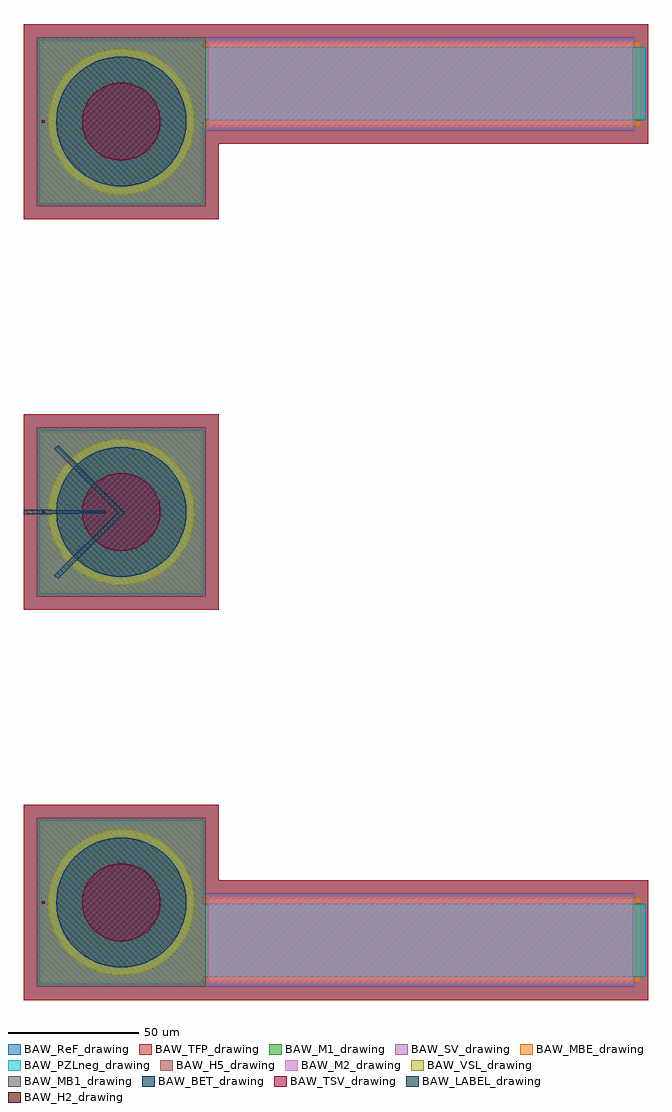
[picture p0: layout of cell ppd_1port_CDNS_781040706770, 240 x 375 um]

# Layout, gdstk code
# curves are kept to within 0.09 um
import gdstk
lib = gdstk.Library(unit=1e-6, precision=1e-09)
def R(c, l, rs):  # rectangles x0, y0, x1, y1
    for r in rs: c.add(gdstk.rectangle(r[:2], r[2:], *l))
def A(c, l, x, y, w, h, nx, ny, dx, dy):  # array of equal rectangles
    R(c, l, [(x+i*dx, y+j*dy, x+i*dx+w, y+j*dy+h) for i in range(nx) for j in range(ny)])
def P(c, l, *ps):  # polygons
    for p in ps: c.add(gdstk.Polygon(p, *l))
BAW_MBE_drawing = (2, 0)
BAW_SV_drawing = (7, 0)
BAW_M1_drawing = (8, 0)
BAW_MB1_drawing = (10, 0)
BAW_TSV_drawing = (11, 0)
BAW_BET_drawing = (21, 0)
BAW_TFP_drawing = (26, 0)
BAW_ReF_drawing = (33, 0)
BAW_H2_drawing = (40, 0)
BAW_M2_drawing = (81, 0)
BAW_LABEL_drawing = (100, 0)
BAW_H5_drawing = (202, 0)
BAW_VSL_drawing = (246, 0)
BAW_PZLneg_drawing = (264, 0)

ppd_1port_cdns_781040706 = lib.new_cell('ppd_1port_CDNS_781040706770')
A(ppd_1port_cdns_781040706, BAW_MBE_drawing, 7, 7, 61, 61, 1, 3, 0, 150)
R(ppd_1port_cdns_781040706, BAW_MBE_drawing, [(68,7,237,39), (68,336,237,368)])
A(ppd_1port_cdns_781040706, BAW_SV_drawing, 5, 5, 65, 65, 1, 3, 0, 150)
R(ppd_1port_cdns_781040706, BAW_SV_drawing, [(70,5,235,41), (70,334,235,370)])
A(ppd_1port_cdns_781040706, BAW_M1_drawing, 5, 5, 65, 65, 1, 3, 0, 150)
R(ppd_1port_cdns_781040706, BAW_M1_drawing, [(70,5,235,41), (70,334,235,370)])
P(ppd_1port_cdns_781040706, BAW_MB1_drawing, [(62.5,337.5),(62.38,339.95),(62.02,342.377),(61.424,344.757),(60.597,347.067),(59.548,349.285),(58.287,351.389),(56.825,353.36),(55.178,355.178),(53.36,356.825),(51.389,358.287),(49.285,359.548),(47.067,360.597),(44.757,361.424),(42.377,362.02),(39.95,362.38),(37.5,362.5),(35.05,362.38),(32.623,362.02),(30.243,361.424),(27.933,360.597),(25.715,359.548),(23.611,358.287),(21.64,356.825),(19.822,355.178),(18.175,353.36),(16.713,351.389),(15.452,349.285),(14.403,347.067),(13.576,344.757),(12.98,342.377),(12.62,339.95),(12.5,337.5),(12.62,335.05),(12.98,332.623),(13.576,330.243),(14.403,327.933),(15.452,325.715),(16.713,323.611),(18.175,321.64),(19.822,319.822),(21.64,318.175),(23.611,316.713),(25.715,315.452),(27.933,314.403),(30.243,313.576),(32.623,312.98),(35.05,312.62),(37.5,312.5),(39.95,312.62),(42.377,312.98),(44.757,313.576),(47.067,314.403),(49.285,315.452),(51.389,316.713),(53.36,318.175),(55.178,319.822),(56.825,321.64),(58.287,323.611),(59.548,325.715),(60.597,327.933),(61.424,330.243),(62.02,332.623),(62.38,335.05)],
  [(62.5,187.5),(62.38,189.95),(62.02,192.377),(61.424,194.757),(60.597,197.067),(59.548,199.285),(58.287,201.389),(56.825,203.36),(55.178,205.178),(53.36,206.825),(51.389,208.287),(49.285,209.548),(47.067,210.597),(44.757,211.424),(42.377,212.02),(39.95,212.38),(37.5,212.5),(35.05,212.38),(32.623,212.02),(30.243,211.424),(27.933,210.597),(25.715,209.548),(23.611,208.287),(21.64,206.825),(19.822,205.178),(18.175,203.36),(16.713,201.389),(15.452,199.285),(14.403,197.067),(13.576,194.757),(12.98,192.377),(12.62,189.95),(12.5,187.5),(12.62,185.05),(12.98,182.623),(13.576,180.243),(14.403,177.933),(15.452,175.715),(16.713,173.611),(18.175,171.64),(19.822,169.822),(21.64,168.175),(23.611,166.713),(25.715,165.452),(27.933,164.403),(30.243,163.576),(32.623,162.98),(35.05,162.62),(37.5,162.5),(39.95,162.62),(42.377,162.98),(44.757,163.576),(47.067,164.403),(49.285,165.452),(51.389,166.713),(53.36,168.175),(55.178,169.822),(56.825,171.64),(58.287,173.611),(59.548,175.715),(60.597,177.933),(61.424,180.243),(62.02,182.623),(62.38,185.05)],
  [(62.5,37.5),(62.38,39.95),(62.02,42.377),(61.424,44.757),(60.597,47.067),(59.548,49.285),(58.287,51.389),(56.825,53.36),(55.178,55.178),(53.36,56.825),(51.389,58.287),(49.285,59.548),(47.067,60.597),(44.757,61.424),(42.377,62.02),(39.95,62.38),(37.5,62.5),(35.05,62.38),(32.623,62.02),(30.243,61.424),(27.933,60.597),(25.715,59.548),(23.611,58.287),(21.64,56.825),(19.822,55.178),(18.175,53.36),(16.713,51.389),(15.452,49.285),(14.403,47.067),(13.576,44.757),(12.98,42.377),(12.62,39.95),(12.5,37.5),(12.62,35.05),(12.98,32.623),(13.576,30.243),(14.403,27.933),(15.452,25.715),(16.713,23.611),(18.175,21.64),(19.822,19.822),(21.64,18.175),(23.611,16.713),(25.715,15.452),(27.933,14.403),(30.243,13.576),(32.623,12.98),(35.05,12.62),(37.5,12.5),(39.95,12.62),(42.377,12.98),(44.757,13.576),(47.067,14.403),(49.285,15.452),(51.389,16.713),(53.36,18.175),(55.178,19.822),(56.825,21.64),(58.287,23.611),(59.548,25.715),(60.597,27.933),(61.424,30.243),(62.02,32.623),(62.38,35.05)])
P(ppd_1port_cdns_781040706, BAW_TSV_drawing, [(52.5,337.5),(52.212,340.426),(51.358,343.24),(49.972,345.834),(48.107,348.107),(45.834,349.972),(43.24,351.358),(40.426,352.212),(37.5,352.5),(34.574,352.212),(31.76,351.358),(29.166,349.972),(26.893,348.107),(25.028,345.834),(23.642,343.24),(22.788,340.426),(22.5,337.5),(22.788,334.574),(23.642,331.76),(25.028,329.166),(26.893,326.893),(29.166,325.028),(31.76,323.642),(34.574,322.788),(37.5,322.5),(40.426,322.788),(43.24,323.642),(45.834,325.028),(48.107,326.893),(49.972,329.166),(51.358,331.76),(52.212,334.574)],
  [(52.5,187.5),(52.212,190.426),(51.358,193.24),(49.972,195.834),(48.107,198.107),(45.834,199.972),(43.24,201.358),(40.426,202.212),(37.5,202.5),(34.574,202.212),(31.76,201.358),(29.166,199.972),(26.893,198.107),(25.028,195.834),(23.642,193.24),(22.788,190.426),(22.5,187.5),(22.788,184.574),(23.642,181.76),(25.028,179.166),(26.893,176.893),(29.166,175.028),(31.76,173.642),(34.574,172.788),(37.5,172.5),(40.426,172.788),(43.24,173.642),(45.834,175.028),(48.107,176.893),(49.972,179.166),(51.358,181.76),(52.212,184.574)],
  [(52.5,37.5),(52.212,40.426),(51.358,43.24),(49.972,45.834),(48.107,48.107),(45.834,49.972),(43.24,51.358),(40.426,52.212),(37.5,52.5),(34.574,52.212),(31.76,51.358),(29.166,49.972),(26.893,48.107),(25.028,45.834),(23.642,43.24),(22.788,40.426),(22.5,37.5),(22.788,34.574),(23.642,31.76),(25.028,29.166),(26.893,26.893),(29.166,25.028),(31.76,23.642),(34.574,22.788),(37.5,22.5),(40.426,22.788),(43.24,23.642),(45.834,25.028),(48.107,26.893),(49.972,29.166),(51.358,31.76),(52.212,34.574)])
P(ppd_1port_cdns_781040706, BAW_BET_drawing, [(62.5,337.5),(62.38,339.95),(62.02,342.377),(61.424,344.757),(60.597,347.067),(59.548,349.285),(58.287,351.389),(56.825,353.36),(55.178,355.178),(53.36,356.825),(51.389,358.287),(49.285,359.548),(47.067,360.597),(44.757,361.424),(42.377,362.02),(39.95,362.38),(37.5,362.5),(35.05,362.38),(32.623,362.02),(30.243,361.424),(27.933,360.597),(25.715,359.548),(23.611,358.287),(21.64,356.825),(19.822,355.178),(18.175,353.36),(16.713,351.389),(15.452,349.285),(14.403,347.067),(13.576,344.757),(12.98,342.377),(12.62,339.95),(12.5,337.5),(12.62,335.05),(12.98,332.623),(13.576,330.243),(14.403,327.933),(15.452,325.715),(16.713,323.611),(18.175,321.64),(19.822,319.822),(21.64,318.175),(23.611,316.713),(25.715,315.452),(27.933,314.403),(30.243,313.576),(32.623,312.98),(35.05,312.62),(37.5,312.5),(39.95,312.62),(42.377,312.98),(44.757,313.576),(47.067,314.403),(49.285,315.452),(51.389,316.713),(53.36,318.175),(55.178,319.822),(56.825,321.64),(58.287,323.611),(59.548,325.715),(60.597,327.933),(61.424,330.243),(62.02,332.623),(62.38,335.05)],
  [(62.5,187.5),(62.38,189.95),(62.02,192.377),(61.424,194.757),(60.597,197.067),(59.548,199.285),(58.287,201.389),(56.825,203.36),(55.178,205.178),(53.36,206.825),(51.389,208.287),(49.285,209.548),(47.067,210.597),(44.757,211.424),(42.377,212.02),(39.95,212.38),(37.5,212.5),(35.05,212.38),(32.623,212.02),(30.243,211.424),(27.933,210.597),(25.715,209.548),(23.611,208.287),(21.64,206.825),(19.822,205.178),(18.175,203.36),(16.713,201.389),(15.452,199.285),(14.403,197.067),(13.576,194.757),(12.98,192.377),(12.62,189.95),(12.5,187.5),(12.62,185.05),(12.98,182.623),(13.576,180.243),(14.403,177.933),(15.452,175.715),(16.713,173.611),(18.175,171.64),(19.822,169.822),(21.64,168.175),(23.611,166.713),(25.715,165.452),(27.933,164.403),(30.243,163.576),(32.623,162.98),(35.05,162.62),(37.5,162.5),(39.95,162.62),(42.377,162.98),(44.757,163.576),(47.067,164.403),(49.285,165.452),(51.389,166.713),(53.36,168.175),(55.178,169.822),(56.825,171.64),(58.287,173.611),(59.548,175.715),(60.597,177.933),(61.424,180.243),(62.02,182.623),(62.38,185.05)],
  [(62.5,37.5),(62.38,39.95),(62.02,42.377),(61.424,44.757),(60.597,47.067),(59.548,49.285),(58.287,51.389),(56.825,53.36),(55.178,55.178),(53.36,56.825),(51.389,58.287),(49.285,59.548),(47.067,60.597),(44.757,61.424),(42.377,62.02),(39.95,62.38),(37.5,62.5),(35.05,62.38),(32.623,62.02),(30.243,61.424),(27.933,60.597),(25.715,59.548),(23.611,58.287),(21.64,56.825),(19.822,55.178),(18.175,53.36),(16.713,51.389),(15.452,49.285),(14.403,47.067),(13.576,44.757),(12.98,42.377),(12.62,39.95),(12.5,37.5),(12.62,35.05),(12.98,32.623),(13.576,30.243),(14.403,27.933),(15.452,25.715),(16.713,23.611),(18.175,21.64),(19.822,19.822),(21.64,18.175),(23.611,16.713),(25.715,15.452),(27.933,14.403),(30.243,13.576),(32.623,12.98),(35.05,12.62),(37.5,12.5),(39.95,12.62),(42.377,12.98),(44.757,13.576),(47.067,14.403),(49.285,15.452),(51.389,16.713),(53.36,18.175),(55.178,19.822),(56.825,21.64),(58.287,23.611),(59.548,25.715),(60.597,27.933),(61.424,30.243),(62.02,32.623),(62.38,35.05)])
A(ppd_1port_cdns_781040706, BAW_TFP_drawing, 0, 0, 75, 75, 1, 3, 0, 150)
R(ppd_1port_cdns_781040706, BAW_TFP_drawing, [(65,0,240,46), (65,329,240,375)])
A(ppd_1port_cdns_781040706, BAW_ReF_drawing, 0, 0, 75, 75, 1, 3, 0, 150)
R(ppd_1port_cdns_781040706, BAW_ReF_drawing, [(65,0,240,46), (65,329,240,375)])
A(ppd_1port_cdns_781040706, BAW_H2_drawing, 7, 37, 1, 1, 1, 3, 0, 150)
R(ppd_1port_cdns_781040706, BAW_M2_drawing, [(71,6,234,40), (71,335,234,369)])
P(ppd_1port_cdns_781040706, BAW_LABEL_drawing, [(31.5,188),(0,188.5),(0,186.5),(31.5,187)])
A(ppd_1port_cdns_781040706, BAW_H5_drawing, 5, 5, 65, 65, 1, 3, 0, 150)
A(ppd_1port_cdns_781040706, BAW_H5_drawing, 7, 37, 1, 1, 1, 3, 0, 150)
P(ppd_1port_cdns_781040706, BAW_VSL_drawing, [(65.5,337.5),(65.365,340.244),(64.962,342.963),(64.294,345.628),(63.369,348.215),(62.194,350.699),(60.781,353.056),(59.144,355.263),(57.299,357.299),(55.263,359.144),(53.056,360.781),(50.699,362.194),(48.215,363.369),(45.628,364.294),(42.963,364.962),(40.244,365.365),(37.5,365.5),(34.756,365.365),(32.037,364.962),(29.372,364.294),(26.785,363.369),(24.301,362.194),(21.944,360.781),(19.737,359.144),(17.701,357.299),(15.856,355.263),(14.219,353.056),(12.806,350.699),(11.631,348.215),(10.706,345.628),(10.038,342.963),(9.635,340.244),(9.5,337.5),(9.635,334.756),(10.038,332.037),(10.706,329.372),(11.631,326.785),(12.806,324.301),(14.219,321.944),(15.856,319.737),(17.701,317.701),(19.737,315.856),(21.944,314.219),(24.301,312.806),(26.785,311.631),(29.372,310.706),(32.037,310.038),(34.756,309.635),(37.5,309.5),(40.244,309.635),(42.963,310.038),(45.628,310.706),(48.215,311.631),(50.699,312.806),(53.056,314.219),(55.263,315.856),(57.299,317.701),(59.144,319.737),(60.781,321.944),(62.194,324.301),(63.369,326.785),(64.294,329.372),(64.962,332.037),(65.365,334.756)],
  [(65.5,187.5),(65.365,190.244),(64.962,192.963),(64.294,195.628),(63.369,198.215),(62.194,200.699),(60.781,203.056),(59.144,205.263),(57.299,207.299),(55.263,209.144),(53.056,210.781),(50.699,212.194),(48.215,213.369),(45.628,214.294),(42.963,214.962),(40.244,215.365),(37.5,215.5),(34.756,215.365),(32.037,214.962),(29.372,214.294),(26.785,213.369),(24.301,212.194),(21.944,210.781),(19.737,209.144),(17.701,207.299),(15.856,205.263),(14.219,203.056),(12.806,200.699),(11.631,198.215),(10.706,195.628),(10.038,192.963),(9.635,190.244),(9.5,187.5),(9.635,184.756),(10.038,182.037),(10.706,179.372),(11.631,176.785),(12.806,174.301),(14.219,171.944),(15.856,169.737),(17.701,167.701),(19.737,165.856),(21.944,164.219),(24.301,162.806),(26.785,161.631),(29.372,160.706),(32.037,160.038),(34.756,159.635),(37.5,159.5),(40.244,159.635),(42.963,160.038),(45.628,160.706),(48.215,161.631),(50.699,162.806),(53.056,164.219),(55.263,165.856),(57.299,167.701),(59.144,169.737),(60.781,171.944),(62.194,174.301),(63.369,176.785),(64.294,179.372),(64.962,182.037),(65.365,184.756)],
  [(65.5,37.5),(65.365,40.244),(64.962,42.963),(64.294,45.628),(63.369,48.215),(62.194,50.699),(60.781,53.056),(59.144,55.263),(57.299,57.299),(55.263,59.144),(53.056,60.781),(50.699,62.194),(48.215,63.369),(45.628,64.294),(42.963,64.962),(40.244,65.365),(37.5,65.5),(34.756,65.365),(32.037,64.962),(29.372,64.294),(26.785,63.369),(24.301,62.194),(21.944,60.781),(19.737,59.144),(17.701,57.299),(15.856,55.263),(14.219,53.056),(12.806,50.699),(11.631,48.215),(10.706,45.628),(10.038,42.963),(9.635,40.244),(9.5,37.5),(9.635,34.756),(10.038,32.037),(10.706,29.372),(11.631,26.785),(12.806,24.301),(14.219,21.944),(15.856,19.737),(17.701,17.701),(19.737,15.856),(21.944,14.219),(24.301,12.806),(26.785,11.631),(29.372,10.706),(32.037,10.038),(34.756,9.635),(37.5,9.5),(40.244,9.635),(42.963,10.038),(45.628,10.706),(48.215,11.631),(50.699,12.806),(53.056,14.219),(55.263,15.856),(57.299,17.701),(59.144,19.737),(60.781,21.944),(62.194,24.301),(63.369,26.785),(64.294,29.372),(64.962,32.037),(65.365,34.756)])
A(ppd_1port_cdns_781040706, BAW_PZLneg_drawing, 6, 6, 63, 63, 1, 3, 0, 150)
R(ppd_1port_cdns_781040706, BAW_PZLneg_drawing, [(66,9,239,37), (66,338,239,366)])
ppd_1port_cdns_781040706.add(gdstk.FlexPath([(12.5,212.5),(37.5,187.5),(12.5,162.5)], 2, ends="flush", simple_path=True, layer=100, datatype=0))  # BAW_LABEL_drawing

lib.write_gds('ppd_1port_CDNS_781040706770.gds')
